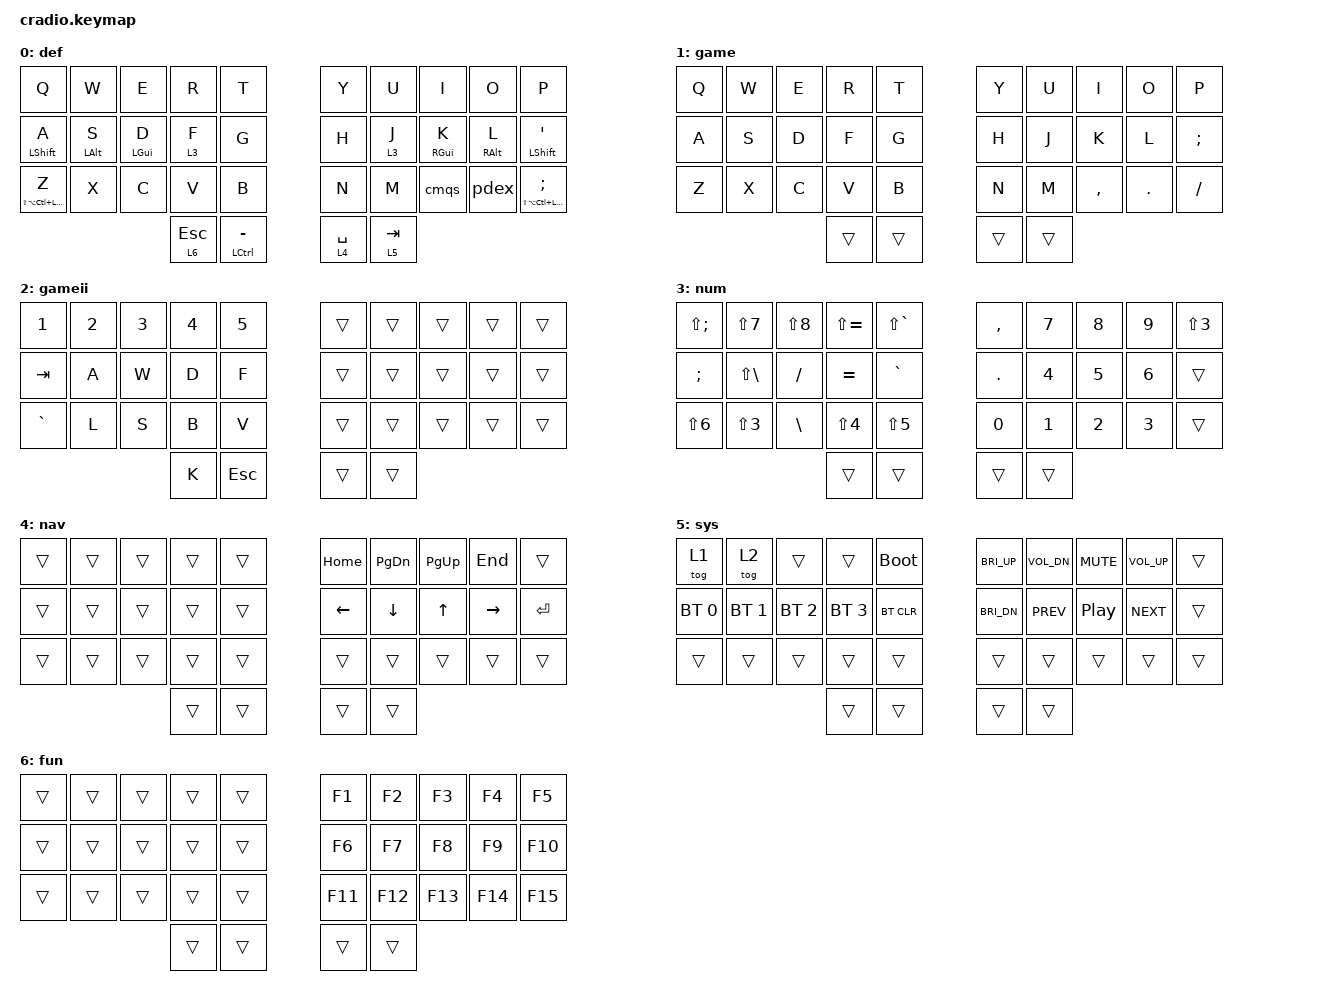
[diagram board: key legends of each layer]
// Copyright (c) 2022 The ZMK Contributors
// SPDX-License-Identifier: MIT

#include <behaviors.dtsi>
#include <dt-bindings/zmk/bt.h>
#include <dt-bindings/zmk/keys.h>

&sk {
    quick-release;
};

/ {
    behaviors {
        ht: hold_tap {
            label = "hold_tap";
            compatible = "zmk,behavior-hold-tap";
            #binding-cells = <2>;
            flavor = "tap-preferred";
            tapping-term-ms = <220>;
            quick-tap-ms = <150>;
            require-prior-idle-ms = <100>;
            bindings = <&kp>, <&kp>;
        };

        cmqs: cmqs {
            compatible = "zmk,behavior-mod-morph";
            label = "CMQS";
            bindings = <&kp COMMA>, <&kp LS(SLASH)>;

            #binding-cells = <0>;
            mods = <(MOD_LSFT|MOD_RSFT)>;
        };

        pdex: pdex {
            compatible = "zmk,behavior-mod-morph";
            label = "PDEX";
            bindings = <&kp PERIOD>, <&kp LS(N1)>;

            #binding-cells = <0>;
            mods = <(MOD_LSFT|MOD_RSFT)>;
        };

        oplt: oplt {
            compatible = "zmk,behavior-mod-morph";
            label = "OPLT";
            bindings = <&kp LEFT_PARENTHESIS>, <&kp LESS_THAN>;

            #binding-cells = <0>;
            mods = <(MOD_LSFT|MOD_RSFT)>;
        };

        cpgt: cpgt {
            compatible = "zmk,behavior-mod-morph";
            label = "CPGT";
            bindings = <&kp RIGHT_PARENTHESIS>, <&kp GREATER_THAN>;

            #binding-cells = <0>;
            mods = <(MOD_LSFT|MOD_RSFT)>;
        };
    };

    conditional_layers {
        compatible = "zmk,conditional-layers";
    };

    combos {
        compatible = "zmk,combos";

        oprn {
            bindings = <&oplt>;
            key-positions = <6 7>;
            require-prior-idle-ms = <150>;
        };

        cprn {
            bindings = <&cpgt>;
            key-positions = <7 8>;
            require-prior-idle-ms = <150>;
        };

        lbkt {
            bindings = <&kp LBKT>;
            key-positions = <26 27>;
            require-prior-idle-ms = <150>;
        };

        rbkt {
            bindings = <&kp RBKT>;
            key-positions = <27 28>;
            require-prior-idle-ms = <150>;
        };

        plus {
            bindings = <&kp PLUS>;
            key-positions = <28 29>;
            require-prior-idle-ms = <150>;
        };

        astk {
            bindings = <&kp ASTRK>;
            key-positions = <8 9>;
            require-prior-idle-ms = <150>;
        };

        slsh {
            bindings = <&kp SLASH>;
            key-positions = <18 19>;
            require-prior-idle-ms = <150>;
        };

        bslh {
            bindings = <&kp BSLH>;
            key-positions = <10 11>;
            require-prior-idle-ms = <150>;
        };

        hash {
            bindings = <&kp HASH>;
            key-positions = <5 6>;
            require-prior-idle-ms = <150>;
        };

        caret {
            bindings = <&kp CARET>;
            key-positions = <4 14>;
            require-prior-idle-ms = <150>;
        };

        pct {
            bindings = <&kp PERCENT>;
            key-positions = <25 26>;
            require-prior-idle-ms = <150>;
        };

        eql {
            bindings = <&kp EQUAL>;
            key-positions = <16 6>;
            require-prior-idle-ms = <150>;
        };

        ampr {
            bindings = <&kp AMPS>;
            key-positions = <17 7>;
            require-prior-idle-ms = <150>;
        };

        pipe {
            bindings = <&kp PIPE>;
            key-positions = <18 8>;
            require-prior-idle-ms = <150>;
        };

        grv {
            bindings = <&kp GRAVE>;
            key-positions = <17 18>;
            require-prior-idle-ms = <150>;
        };

        at {
            bindings = <&kp AT>;
            key-positions = <1 0>;
            require-prior-idle-ms = <150>;
        };

        dllr {
            bindings = <&kp DOLLAR>;
            key-positions = <15 5>;
            require-prior-idle-ms = <150>;
        };

        undo {
            bindings = <&kp LG(Z)>;
            key-positions = <20 21>;
        };

        copy {
            bindings = <&kp LG(C)>;
            key-positions = <21 22>;
        };

        pste {
            bindings = <&kp LG(V)>;
            key-positions = <22 23>;
        };

        redo {
            bindings = <&kp LG(LS(Z))>;
            key-positions = <23 24>;
        };

        ret {
            bindings = <&kp RET>;
            key-positions = <32 19>;
        };

        retii {
            bindings = <&kp RET>;
            key-positions = <10 31>;
        };

        cut {
            bindings = <&kp LG(X)>;
            key-positions = <21 23>;
        };

        delword {
            bindings = <&kp LA(BACKSPACE)>;
            key-positions = <16 18>;
        };

        bksp {
            bindings = <&kp BACKSPACE>;
            key-positions = <16 17>;
        };

        del {
            bindings = <&kp DELETE>;
            key-positions = <17 15>;
        };

        bkspii {
            bindings = <&kp BACKSPACE>;
            key-positions = <12 13>;
        };

        delii {
            bindings = <&kp DELETE>;
            key-positions = <12 14>;
        };

        delwordii {
            bindings = <&kp LA(BACKSPACE)>;
            key-positions = <11 13>;
        };

        dline {
            bindings = <&kp LG(BACKSPACE)>;
            key-positions = <16 19>;
        };

        dlineii {
            bindings = <&kp LG(BACKSPACE)>;
            key-positions = <10 13>;
        };
    };

    keymap {
        compatible = "zmk,keymap";

        def {
            bindings = <
&kp Q                   &kp W           &kp E           &kp R         &kp T              &kp Y        &kp U      &kp I       &kp O       &kp P
&ht LSHFT A             &ht LEFT_ALT S  &ht LEFT_GUI D  &lt 3 F       &kp G              &kp H        &lt 3 J    &ht RGUI K  &ht RALT L  &mt LSHFT SQT
&ht LS(LA(LC(LGUI))) Z  &kp X           &kp C           &kp V         &kp B              &kp N        &kp M      &cmqs       &pdex       &ht LS(LA(LC(LGUI))) SEMI
                                                        &lt 6 ESCAPE  &ht LCTRL MINUS    &lt 4 SPACE  &lt 5 TAB
            >;
        };

        game {
            bindings = <
&kp Q  &kp W  &kp E  &kp R   &kp T     &kp Y   &kp U   &kp I      &kp O       &kp P
&kp A  &kp S  &kp D  &kp F   &kp G     &kp H   &kp J   &kp K      &kp L       &kp SEMI
&kp Z  &kp X  &kp C  &kp V   &kp B     &kp N   &kp M   &kp COMMA  &kp PERIOD  &kp SLASH
                     &trans  &trans    &trans  &trans
            >;
        };

        gameii {
            bindings = <
&kp N1     &kp N2  &kp N3  &kp N4  &kp N5        &trans  &trans  &trans  &trans  &trans
&kp TAB    &kp A   &kp W   &kp D   &kp F         &trans  &trans  &trans  &trans  &trans
&kp GRAVE  &kp L   &kp S   &kp B   &kp V         &trans  &trans  &trans  &trans  &trans
                           &kp K   &kp ESCAPE    &trans  &trans
            >;
        };

        num {
            bindings = <
&kp LS(SEMI)      &kp LS(N7)        &kp LS(N8)  &kp LS(EQUAL)     &kp LS(GRAVE)    &kp COMMA  &kp N7  &kp N8  &kp N9  &kp LS(N3)
&kp SEMI          &kp LS(BSLH)      &kp SLASH   &kp EQUAL         &kp GRAVE        &kp DOT    &kp N4  &kp N5  &kp N6  &trans
&kp LS(NUMBER_6)  &kp LS(NUMBER_3)  &kp BSLH    &kp LS(NUMBER_4)  &kp LS(N5)       &kp N0     &kp N1  &kp N2  &kp N3  &trans
                                                &trans            &trans           &trans     &trans
            >;
        };

        nav {
            bindings = <
&trans  &trans  &trans  &trans  &trans    &kp HOME  &kp PG_DN  &kp PG_UP  &kp END    &trans
&trans  &trans  &trans  &trans  &trans    &kp LEFT  &kp DOWN   &kp UP     &kp RIGHT  &kp ENTER
&trans  &trans  &trans  &trans  &trans    &trans    &trans     &trans     &trans     &trans
                        &trans  &trans    &trans    &trans
            >;
        };

        sys {
            bindings = <
&tog 1        &tog 2        &trans        &trans        &bootloader    &kp C_BRI_UP  &kp C_VOL_DN  &kp C_MUTE        &kp C_VOL_UP  &trans
&bt BT_SEL 0  &bt BT_SEL 1  &bt BT_SEL 2  &bt BT_SEL 3  &bt BT_CLR     &kp C_BRI_DN  &kp C_PREV    &kp C_PLAY_PAUSE  &kp C_NEXT    &trans
&trans        &trans        &trans        &trans        &trans         &trans        &trans        &trans            &trans        &trans
                                          &trans        &trans         &trans        &trans
            >;
        };

        fun {
            bindings = <
&trans  &trans  &trans  &trans  &trans    &kp F1   &kp F2   &kp F3   &kp F4   &kp F5
&trans  &trans  &trans  &trans  &trans    &kp F6   &kp F7   &kp F8   &kp F9   &kp F10
&trans  &trans  &trans  &trans  &trans    &kp F11  &kp F12  &kp F13  &kp F14  &kp F15
                        &trans  &trans    &trans   &trans
            >;
        };
    };
};
